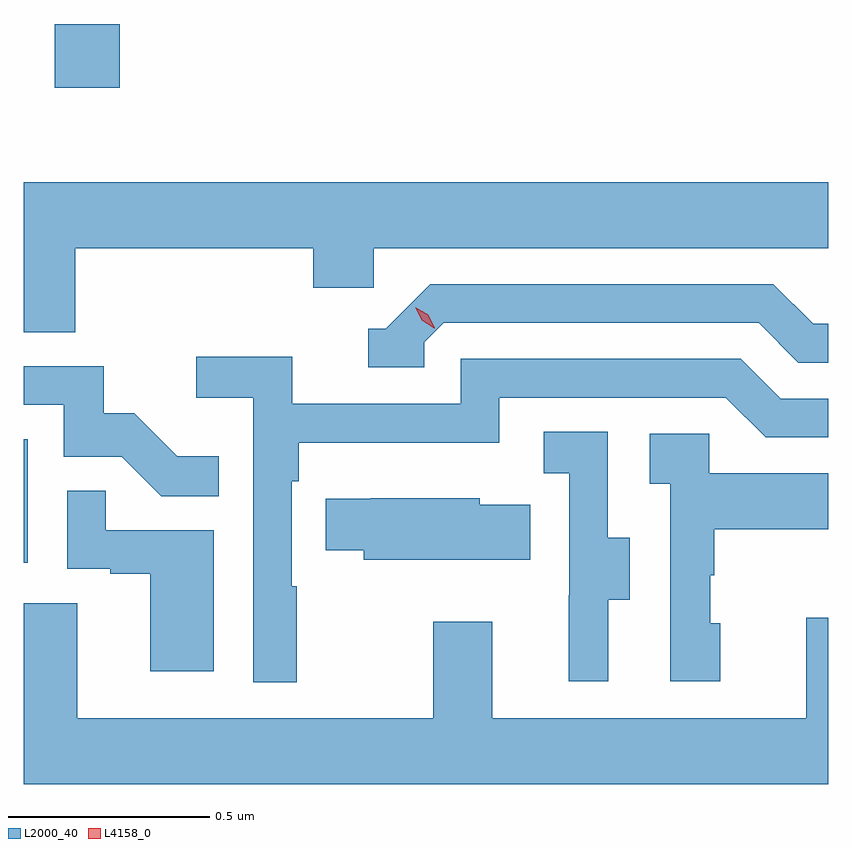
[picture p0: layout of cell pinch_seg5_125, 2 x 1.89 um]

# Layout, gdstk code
import gdstk
lib = gdstk.Library(unit=1e-6, precision=1e-09)
def R(c, l, rs):  # rectangles x0, y0, x1, y1
    for r in rs: c.add(gdstk.rectangle(r[:2], r[2:], *l))
def P(c, l, *ps):  # polygons
    for p in ps: c.add(gdstk.Polygon(p, *l))
L2000_40 = (2000, 40)
L4158_0 = (4158, 0)

pinch_seg5_125 = lib.new_cell('pinch_seg5_125')
R(pinch_seg5_125, L2000_40, [(1072.344,875.958,1072.354,876.265), (1072.421,877.14,1072.582,877.298)])
P(pinch_seg5_125, L2000_40, [(1072.472,876.74),(1073.063,876.74),(1073.063,876.642),(1073.214,876.642),(1073.214,876.74),(1074.344,876.74),(1074.344,876.904),(1072.344,876.904),(1072.344,876.532),(1072.472,876.532)],
  [(1073.34,876.507),(1073.388,876.555),(1074.171,876.555),(1074.27,876.456),(1074.344,876.456),(1074.344,876.552),(1074.307,876.552),(1074.208,876.651),(1073.355,876.651),(1073.244,876.54),(1073.201,876.54),(1073.201,876.444),(1073.34,876.444)],
  [(1073.023,875.9),(1073.01,875.9),(1073.01,876.161),(1073.027,876.161),(1073.027,876.257),(1073.526,876.257),(1073.526,876.369),(1074.09,876.369),(1074.189,876.27),(1074.344,876.27),(1074.344,876.366),(1074.226,876.366),(1074.127,876.465),(1073.43,876.465),(1073.43,876.354),(1073.012,876.354),(1073.012,876.47),(1072.773,876.47),(1072.773,876.368),(1072.914,876.368),(1072.914,875.661),(1073.023,875.661)],
  [(1072.829,876.223),(1072.725,876.223),(1072.618,876.33),(1072.542,876.33),(1072.542,876.447),(1072.344,876.447),(1072.344,876.351),(1072.443,876.351),(1072.443,876.222),(1072.587,876.222),(1072.685,876.124),(1072.829,876.124)],
  [(1073.797,875.866),(1073.851,875.866),(1073.851,876.021),(1073.796,876.021),(1073.796,876.284),(1073.637,876.284),(1073.637,876.181),(1073.7,876.181),(1073.7,875.877),(1073.699,875.877),(1073.699,875.664),(1073.797,875.664)],
  [(1074.076,875.808),(1074.051,875.808),(1074.051,875.927),(1074.061,875.927),(1074.061,876.041),(1074.344,876.041),(1074.344,876.181),(1074.048,876.181),(1074.048,876.279),(1073.901,876.279),(1073.901,876.155),(1073.952,876.155),(1073.952,875.664),(1074.076,875.664)],
  [(1072.816,876.039),(1072.547,876.039),(1072.547,876.137),(1072.452,876.137),(1072.452,875.943),(1072.559,875.943),(1072.559,875.931),(1072.658,875.931),(1072.658,875.688),(1072.816,875.688)],
  [(1073.603,876.103),(1073.478,876.103),(1073.478,876.118),(1073.206,876.118),(1073.206,876.117),(1073.095,876.117),(1073.095,875.989),(1073.189,875.989),(1073.189,875.966),(1073.603,875.966)],
  [(1072.344,875.858),(1072.344,875.408),(1074.344,875.408),(1074.344,875.821),(1074.29,875.821),(1074.29,875.572),(1073.509,875.572),(1073.509,875.812),(1073.362,875.812),(1073.362,875.572),(1072.477,875.572),(1072.477,875.858)])
P(pinch_seg5_125, L4158_0, [(1073.365,876.542),(1073.334,876.561),(1073.317,876.593),(1073.317,876.593),(1073.317,876.593),(1073.349,876.575),(1073.366,876.543),(1073.366,876.542)])

lib.write_gds('pinch_seg5_125.gds')
